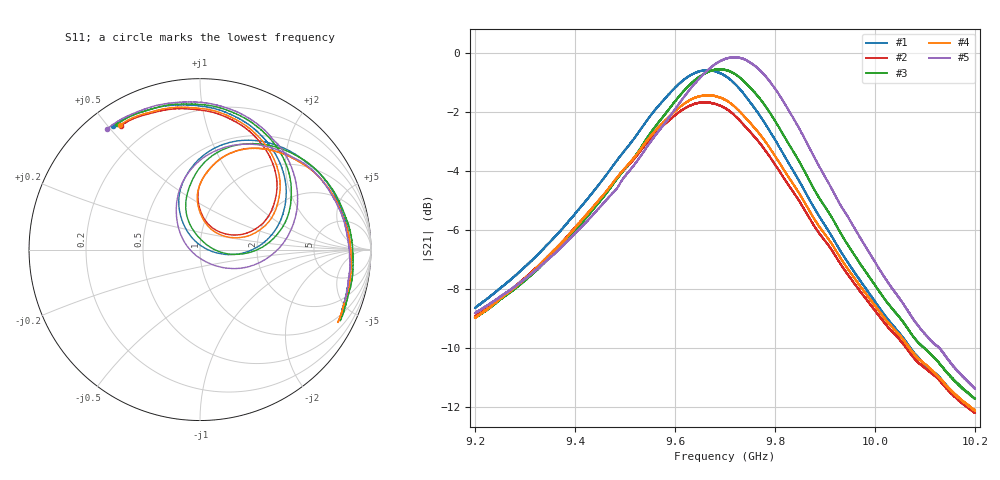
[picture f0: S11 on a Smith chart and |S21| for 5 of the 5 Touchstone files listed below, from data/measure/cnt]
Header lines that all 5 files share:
!Agilent Technologies,N5242A,MY51221714,A.09.90.19
!Agilent N5242A: A.09.90.19
!Correction: S11(Full 2 Port(1,2))
!S21(Full 2 Port(1,2))
!S12(Full 2 Port(1,2))
!S22(Full 2 Port(1,2))
!S2P File: Measurements: S11, S21, S12, S22:
# Hz S  dB  R 50
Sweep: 9.2 GHz to 10.2 GHz
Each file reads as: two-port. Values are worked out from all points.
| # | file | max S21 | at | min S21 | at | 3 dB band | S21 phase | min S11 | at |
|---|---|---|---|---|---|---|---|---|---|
| 1 | c13_1.s2p | -0.59 dB | 9.664 GHz | -12.2 dB | 10.2 GHz | 9.487 GHz-9.822 GHz | -126 deg at 9.7 GHz | -33.2 dB | 9.668 GHz |
| 2 | c14_2.s2p | -1.68 dB | 9.657 GHz | -12.2 dB | 10.2 GHz | 9.464 GHz-9.835 GHz | -126 deg at 9.7 GHz | -16.8 dB | 9.664 GHz |
| 3 | c15_1.s2p | -0.56 dB | 9.691 GHz | -11.7 dB | 10.2 GHz | 9.518 GHz-9.844 GHz | -118 deg at 9.7 GHz | -26.7 dB | 9.689 GHz |
| 4 | c15_2.s2p | -1.44 dB | 9.668 GHz | -12.1 dB | 10.2 GHz | 9.475 GHz-9.836 GHz | -125 deg at 9.7 GHz | -17.5 dB | 9.668 GHz |
| 5 | fp_3.95.s2p | -0.16 dB | 9.722 GHz | -11.4 dB | 10.2 GHz | 9.546 GHz-9.867 GHz | -106 deg at 9.7 GHz | -27.9 dB | 9.718 GHz |
